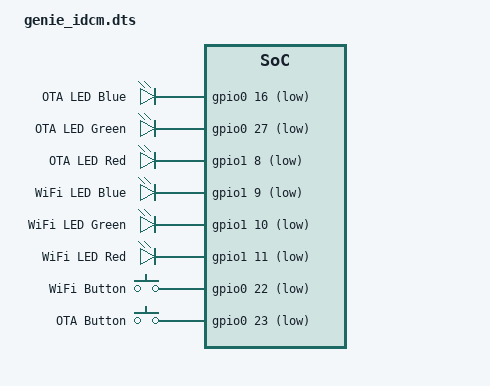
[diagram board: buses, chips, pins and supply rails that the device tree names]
/ {
	leds {
		compatible = "gpio-leds";

		led_ota_blue: led_ota_blue {
			gpios = <&gpio0 16 1>;
			label = "OTA LED Blue";
		};

		led_ota_green: led_ota_green {
			gpios = <&gpio0 27 1>;
			label = "OTA LED Green";
		};

		led_ota_red: led_ota_red {
			gpios = <&gpio1 8 1>;
			label = "OTA LED Red";
		};

		led_wifi_blue: led_wifi_blue {
			gpios = <&gpio1 9 1>;
			label = "WiFi LED Blue";
		};

		led_wifi_green: led_wifi_green {
			gpios = <&gpio1 10 1>;
			label = "WiFi LED Green";
		};

		led_wifi_red: led_wifi_red {
			gpios = <&gpio1 11 1>;
			label = "WiFi LED Red";
		};
	};

	buttons {
		compatible = "gpio-keys";

		sw_wifi: sw_wifi {
			label = "WiFi Button";
			gpios = <&gpio0 22 1>;
		};

		sw_ota: sw_ota {
			label = "OTA Button";
			gpios = <&gpio0 23 1>;
		};
	};
};
